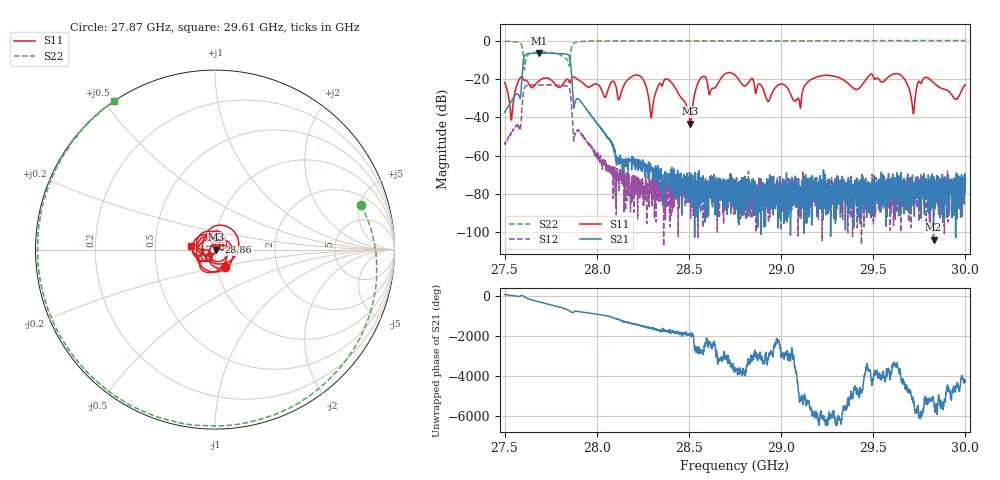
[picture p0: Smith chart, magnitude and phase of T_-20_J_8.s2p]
!Keysight Technologies,N5234A,MY55441357,A.10.47.05
!Date: Sunday, November 19, 2017 16:05:35
!Correction: S11(Full 2 Port(1,2))
!S21(Full 2 Port(1,2))
!S12(Full 2 Port(1,2))
!S22(Full 2 Port(1,2))
!S2P File: Measurements: S11, S21, S12, S22:
# Hz S  dB  R 50
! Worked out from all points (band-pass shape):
!   2501 points, 27.5 GHz to 30 GHz, reference 50 ohm
!   highest |S21| = -6.54 dB at 27.69 GHz (marker M1); lowest = -103.8 dB at 29.83 GHz (marker M2)
!   |S21| within 3 dB of the highest: 27.6 GHz to 27.85 GHz (250.7 MHz wide, 0.904 % of centre)
!   lowest |S11| = -43.2 dB at 28.51 GHz (marker M3), VSWR 1.01, Z = 50.7 + j0.0437 ohm
!   |S11| at or under -10 dB: start of sweep to end of sweep
!   |S22| runs from -15.2 to 0.1 dB; largest |S21 - S12| = 0.54
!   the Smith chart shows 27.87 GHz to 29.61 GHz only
!   S11 on the Smith chart (normalised r, x): 27.87 GHz: 1.09, -0.22; 28.86 GHz: 1.04, +0.08; 29.61 GHz: 0.77, +0.03
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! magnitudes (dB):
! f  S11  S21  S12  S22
! 27.5 GHz  -21.8  -37.4  -54.3  -0.3
! 27.54 GHz  -41.5  -31.5  -47.8  -0.4
! 27.58 GHz  -19.4  -30.2  -46.9  -1.3
! 27.61 GHz  -20.6  -7.3  -23.8  -11.3
! 27.69 GHz  -20.9  -6.5  -23.1  -6.2
! 27.84 GHz  -20.1  -7.2  -23.8  -10.4
! 27.87 GHz  -18.9  -34.2  -50.9  -1.4
! 27.92 GHz  -21.5  -32.1  -49.1  -0.4
! 28.11 GHz  -28.3  -62.7  -72.1  -0.1
! 28.23 GHz  -18.2  -66.1  -76.0  -0.1
! 28.3 GHz  -39.5  -65.8  -77.5  -0.1
! 28.33 GHz  -23.4  -68.4  -77.6  -0.1
! 28.51 GHz  -43.2  -71.4  -75.5  -0.1
! 28.57 GHz  -19.2  -72.5  -78.7  -0.1
! 28.75 GHz  -18.0  -90.3  -82.2  -0.1
! 28.86 GHz  -26.9  -77.5  -99.9  -0.1
! 29.17 GHz  -20.1  -80.1  -86.2  -0.1
! 29.58 GHz  -18.8  -81.1  -79.7  0.0
! 29.61 GHz  -17.6  -69.6  -79.4  0.0
! 29.72 GHz  -37.4  -80.1  -83.1  0.0
! 29.83 GHz  -21.8  -103.8  -84.8  0.0
! 30 GHz  -23.1  -71.7  -81.0  0.1
